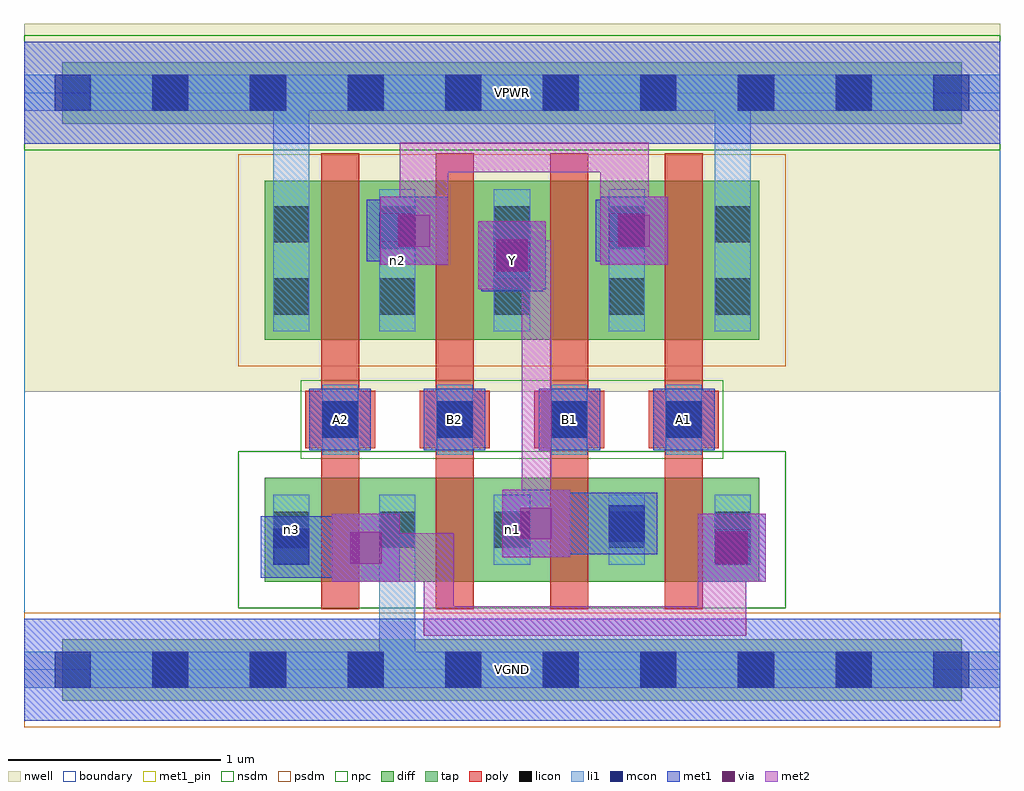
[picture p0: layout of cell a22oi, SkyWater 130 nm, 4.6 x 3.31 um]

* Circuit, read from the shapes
.subckt a22oi A1 A2 B1 B2 VGND VPWR Y n1 n2 n3
XM1 VGND A2 n3 VGND sky130_fd_pr__nfet_01v8 w=0.49 l=0.18
XM2 n1 B2 VGND VGND sky130_fd_pr__nfet_01v8 w=0.49 l=0.18
XM3 Y B1 n1 VGND sky130_fd_pr__nfet_01v8 w=0.49 l=0.18
XM4 n3 A1 Y VGND sky130_fd_pr__nfet_01v8 w=0.49 l=0.18
XM5 n2 A2 VPWR VPWR sky130_fd_pr__pfet_01v8 w=0.75 l=0.18
XM6 Y B2 n2 VPWR sky130_fd_pr__pfet_01v8 w=0.75 l=0.18
XM7 n2 B1 Y VPWR sky130_fd_pr__pfet_01v8 w=0.75 l=0.18
XM8 VPWR A1 n2 VPWR sky130_fd_pr__pfet_01v8 w=0.75 l=0.18
.ends

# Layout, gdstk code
import gdstk
lib = gdstk.Library(unit=1e-6, precision=1e-09)
def R(c, l, rs):  # rectangles x0, y0, x1, y1
    for r in rs: c.add(gdstk.rectangle(r[:2], r[2:], *l))
def A(c, l, x, y, w, h, nx, ny, dx, dy):  # array of equal rectangles
    R(c, l, [(x+i*dx, y+j*dy, x+i*dx+w, y+j*dy+h) for i in range(nx) for j in range(ny)])
nwell = (64, 20)
diff = (65, 20)
tap = (65, 44)
poly = (66, 20)
licon = (66, 44)
li1 = (67, 20)
mcon = (67, 44)
met1_pin = (68, 16)
met1 = (68, 20)
via = (68, 44)
met2 = (69, 20)
nsdm = (93, 44)
psdm = (94, 20)
npc = (95, 20)
boundary = (235, 4)

a22oi = lib.new_cell('a22oi')
R(a22oi, nwell, [(0,1.31,4.6,3.045)])
R(a22oi, diff, [(1.135,0.415,3.465,0.905), (1.135,1.555,3.465,2.305)])
R(a22oi, tap, [(0.18,-0.145,4.42,0.145), (0.18,2.575,4.42,2.865)])
A(a22oi, poly, 1.4, 0.285, 0.18, 2.15, 4, 1, 0.54, 0)
A(a22oi, poly, 1.325, 1.045, 0.33, 0.27, 4, 1, 0.54, 0)
A(a22oi, licon, 0.605, -0.085, 0.17, 0.17, 8, 2, 0.46, 2.72)
A(a22oi, licon, 1.675, 0.575, 0.17, 0.17, 3, 2, 0.54, 1.1)
A(a22oi, licon, 1.405, 1.095, 0.17, 0.17, 4, 1, 0.54, 0)
A(a22oi, licon, 1.675, 2.015, 0.17, 0.17, 3, 1, 0.54, 0)
R(a22oi, licon, [(1.175,0.575,1.345,0.745), (3.255,0.575,3.425,0.745), (1.175,1.675,1.345,1.845), (3.255,1.675,3.425,1.845), (1.175,2.015,1.345,2.185), (3.255,2.015,3.425,2.185)])
A(a22oi, li1, 1.675, 0.495, 0.17, 0.33, 3, 1, 0.54, 0)
A(a22oi, li1, 1.405, 1.015, 0.17, 0.33, 4, 1, 0.54, 0)
A(a22oi, li1, 1.675, 1.595, 0.17, 0.67, 3, 1, 0.54, 0)
R(a22oi, li1, [(0,-0.085,4.6,0.085), (1.675,-0.085,1.845,0.825), (1.175,0.495,1.345,0.825), (3.255,0.495,3.425,0.825), (1.175,1.595,1.345,2.265), (1.175,1.595,1.345,2.805), (3.255,1.595,3.425,2.265), (3.255,1.595,3.425,2.805), (0,2.635,4.6,2.805)])
A(a22oi, mcon, 0.145, -0.085, 0.17, 0.17, 10, 2, 0.46, 2.72)
A(a22oi, mcon, 1.405, 1.095, 0.17, 0.17, 4, 1, 0.54, 0)
R(a22oi, mcon, [(1.175,0.495,1.345,0.665), (3.255,0.495,3.425,0.665), (2.755,0.605,2.925,0.775), (2.215,1.845,2.385,2.015), (1.675,1.985,1.845,2.155), (2.755,1.985,2.925,2.155)])
A(a22oi, met1_pin, 1.345, 1.035, 0.29, 0.29, 4, 1, 0.54, 0)
R(a22oi, met1_pin, [(0,-0.24,4.6,0.24), (2.155,1.785,2.445,2.075), (0,2.48,4.6,2.96)])
A(a22oi, met1, 1.345, 1.035, 0.29, 0.29, 4, 1, 0.54, 0)
R(a22oi, met1, [(0,-0.24,4.6,0.24), (1.45,0.415,1.77,0.735), (3.175,0.415,3.495,0.735), (1.115,0.435,1.405,0.725), (1.405,0.435,1.45,0.725), (3.195,0.435,3.485,0.725), (1.31,0.505,1.68,0.645), (1.31,0.505,1.45,0.65), (3.265,0.505,3.405,0.65), (1.19,0.51,1.45,0.65), (3.265,0.51,3.41,0.65), (2.255,0.53,2.575,0.85), (2.575,0.545,2.695,0.835), (2.695,0.545,2.985,0.835), (2.345,0.62,2.715,0.76), (2.575,0.62,2.91,0.76), (2.155,1.785,2.445,2.075), (2.14,1.795,2.46,2.115), (2.23,1.885,2.37,2.025), (1.68,1.91,2,2.23), (2.715,1.91,3.035,2.23), (1.615,1.925,1.905,2.215), (2.695,1.925,2.985,2.215), (1.69,2,1.91,2.14), (2.77,2,2.945,2.14), (0,2.48,4.6,2.96)])
R(a22oi, via, [(1.535,0.5,1.685,0.65), (3.26,0.5,3.41,0.65), (2.34,0.615,2.49,0.765), (2.225,1.88,2.375,2.03), (1.765,1.995,1.915,2.145), (2.8,1.995,2.95,2.145)])
R(a22oi, met2, [(1.885,0.16,2.025,0.645), (1.885,0.16,3.405,0.3), (3.265,0.16,3.405,0.645), (3.175,0.3,3.405,0.415), (1.45,0.415,1.77,0.735), (1.77,0.415,1.885,0.645), (3.175,0.415,3.495,0.735), (1.54,0.505,2.025,0.645), (2.255,0.53,2.575,0.85), (2.345,0.62,2.485,2.025), (2.14,1.795,2.46,2.115), (2.23,1.885,2.485,2.025), (1.68,1.91,2,2.23), (2.715,1.91,3.035,2.23), (1.77,2,1.91,2.485), (2.805,2,2.945,2.485), (1.77,2.23,2,2.345), (2.715,2.23,2.945,2.345), (1.77,2.345,2.945,2.485)])
R(a22oi, nsdm, [(1.01,0.29,3.59,1.03), (0,2.45,4.6,2.99)])
R(a22oi, psdm, [(0,-0.27,4.6,0.27), (1.01,1.43,3.59,2.43)])
R(a22oi, npc, [(1.305,0.995,3.295,1.365)])
R(a22oi, boundary, [(0,0,4.6,2.72)])
a22oi.add(gdstk.Label('n3', (1.26,0.66), layer=67, texttype=5))
a22oi.add(gdstk.Label('n1', (2.3,0.66), layer=67, texttype=5))
a22oi.add(gdstk.Label('n2', (1.76,1.93), layer=67, texttype=5))
a22oi.add(gdstk.Label('A2', (1.49,1.18), layer=68, texttype=5))
a22oi.add(gdstk.Label('B2', (2.03,1.18), layer=68, texttype=5))
a22oi.add(gdstk.Label('B1', (2.57,1.18), layer=68, texttype=5))
a22oi.add(gdstk.Label('A1', (3.11,1.18), layer=68, texttype=5))
a22oi.add(gdstk.Label('Y', (2.3,1.93), layer=68, texttype=5))
a22oi.add(gdstk.Label('VPWR', (2.3,2.72), layer=68, texttype=5))
a22oi.add(gdstk.Label('VGND', (2.3,0), layer=68, texttype=5))
a22oi.add(gdstk.Label('A2', (1.49,1.18), layer=68, texttype=16))
a22oi.add(gdstk.Label('B2', (2.03,1.18), layer=68, texttype=16))
a22oi.add(gdstk.Label('B1', (2.57,1.18), layer=68, texttype=16))
a22oi.add(gdstk.Label('A1', (3.11,1.18), layer=68, texttype=16))
a22oi.add(gdstk.Label('Y', (2.3,1.93), layer=68, texttype=16))
a22oi.add(gdstk.Label('VPWR', (2.3,2.72), layer=68, texttype=16))
a22oi.add(gdstk.Label('VGND', (2.3,0), layer=68, texttype=16))

lib.write_gds('a22oi.gds')
